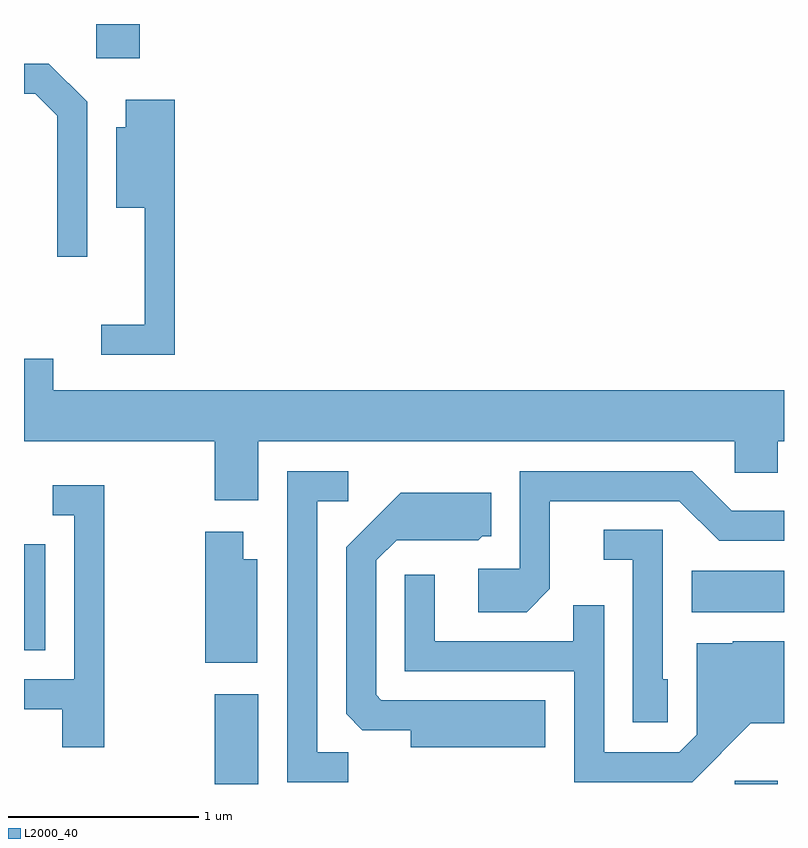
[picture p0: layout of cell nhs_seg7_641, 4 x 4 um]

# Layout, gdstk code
import gdstk
lib = gdstk.Library(unit=1e-6, precision=1e-09)
def R(c, l, rs):  # rectangles x0, y0, x1, y1
    for r in rs: c.add(gdstk.rectangle(r[:2], r[2:], *l))
def P(c, l, *ps):  # polygons
    for p in ps: c.add(gdstk.Polygon(p, *l))
L2000_40 = (2000, 40)

nhs_seg7_641 = lib.new_cell('nhs_seg7_641')
R(nhs_seg7_641, L2000_40, [(204.616,1750.252,204.844,1750.724), (207.351,1750.252,207.579,1750.269), (203.611,1750.956,203.724,1751.514), (207.126,1751.156,207.611,1751.374), (203.991,1754.071,204.219,1754.252)])
P(nhs_seg7_641, L2000_40, [(203.944,1753.842),(203.742,1754.044),(203.611,1754.044),(203.611,1753.886),(203.669,1753.886),(203.786,1753.769),(203.786,1753.028),(203.944,1753.028)],
  [(204.404,1753.854),(204.146,1753.854),(204.146,1753.709),(204.096,1753.709),(204.096,1753.286),(204.246,1753.286),(204.246,1752.669),(204.018,1752.669),(204.018,1752.511),(204.404,1752.511)],
  [(204.844,1752.056),(207.351,1752.056),(207.351,1751.891),(207.579,1751.891),(207.579,1752.056),(207.611,1752.056),(207.611,1752.324),(203.764,1752.324),(203.764,1752.489),(203.611,1752.489),(203.611,1752.056),(204.616,1752.056),(204.616,1751.746),(204.844,1751.746)],
  [(206.379,1751.279),(206.379,1751.741),(207.059,1751.741),(207.269,1751.531),(207.611,1751.531),(207.611,1751.689),(207.337,1751.689),(207.127,1751.899),(206.221,1751.899),(206.221,1751.384),(206.001,1751.384),(206.001,1751.156),(206.257,1751.156)],
  [(205.318,1750.419),(205.154,1750.419),(205.154,1751.741),(205.318,1751.741),(205.318,1751.899),(204.996,1751.899),(204.996,1750.261),(205.318,1750.261)],
  [(204.034,1751.824),(203.763,1751.824),(203.763,1751.666),(203.876,1751.666),(203.876,1750.804),(203.611,1750.804),(203.611,1750.646),(203.811,1750.646),(203.811,1750.446),(204.034,1750.446)],
  [(206.354,1750.694),(205.492,1750.694),(205.464,1750.722),(205.464,1751.429),(205.572,1751.536),(206.002,1751.536),(206.022,1751.556),(206.069,1751.556),(206.069,1751.784),(205.594,1751.784),(205.306,1751.497),(205.306,1750.622),(205.392,1750.536),(205.646,1750.536),(205.646,1750.446),(206.354,1750.446)],
  [(206.999,1750.804),(206.974,1750.804),(206.974,1751.589),(206.663,1751.589),(206.663,1751.431),(206.816,1751.431),(206.816,1750.576),(206.999,1750.576)],
  [(204.839,1751.434),(204.764,1751.434),(204.764,1751.579),(204.566,1751.579),(204.566,1750.891),(204.839,1750.891)],
  [(207.437,1750.571),(207.611,1750.571),(207.611,1751.004),(207.34,1751.004),(207.34,1750.994),(207.151,1750.994),(207.151,1750.512),(207.059,1750.419),(206.664,1750.419),(206.664,1751.193),(206.501,1751.193),(206.501,1751.004),(205.774,1751.004),(205.774,1751.353),(205.616,1751.353),(205.616,1750.846),(206.506,1750.846),(206.506,1750.261),(207.127,1750.261)])

lib.write_gds('nhs_seg7_641.gds')
